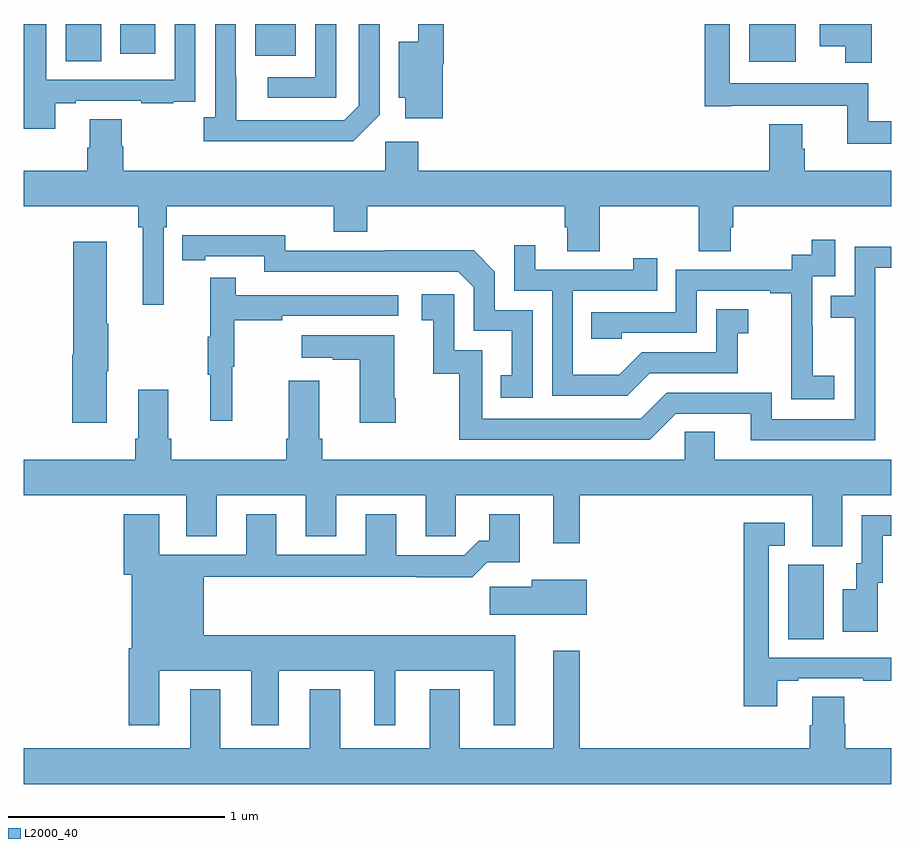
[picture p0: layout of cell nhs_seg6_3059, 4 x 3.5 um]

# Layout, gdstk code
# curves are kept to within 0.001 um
import gdstk
lib = gdstk.Library(unit=1e-6, precision=1e-09)
def R(c, l, rs):  # rectangles x0, y0, x1, y1
    for r in rs: c.add(gdstk.rectangle(r[:2], r[2:], *l))
def P(c, l, *ps):  # polygons
    for p in ps: c.add(gdstk.Polygon(p, *l))
L2000_40 = (2000, 40)

nhs_seg6_3059 = lib.new_cell('nhs_seg6_3059')
R(nhs_seg6_3059, L2000_40, [(294.524,954.664,294.688,955.008), (294.344,957.326,294.559,957.5), (291.194,957.328,291.358,957.5), (292.067,957.353,292.255,957.5), (291.446,957.363,291.607,957.5)])
P(nhs_seg6_3059, L2000_40, [(295,957.052),(294.894,957.052),(294.894,957.226),(294.255,957.226),(294.255,957.5),(294.139,957.5),(294.139,957.12),(294.262,957.12),(294.262,957.122),(294.797,957.122),(294.797,956.948),(295,956.948)],
  [(291.145,957.135),(291.241,957.135),(291.241,957.147),(291.541,957.147),(291.541,957.135),(291.689,957.135),(291.689,957.141),(291.791,957.141),(291.791,957.25),(291.792,957.25),(291.792,957.5),(291.696,957.5),(291.696,957.243),(291.105,957.243),(291.105,957.5),(291,957.5),(291,957.018),(291.145,957.018)],
  [(292.931,957.314),(292.937,957.314),(292.937,957.5),(292.82,957.5),(292.82,957.418),(292.73,957.418),(292.73,957.161),(292.76,957.161),(292.76,957.066),(292.931,957.066)],
  [(292.44,957.5),(292.344,957.5),(292.344,957.255),(292.125,957.255),(292.125,957.159),(292.44,957.159)],
  [(294.91,957.5),(294.671,957.5),(294.671,957.398),(294.788,957.398),(294.788,957.321),(294.91,957.321)],
  [(292.641,957.081),(292.641,957.5),(292.545,957.5),(292.545,957.123),(292.479,957.057),(291.979,957.057),(291.978,957.5),(291.882,957.5),(291.882,957.07),(291.831,957.07),(291.831,956.96),(292.52,956.96)],
  [(291.645,956.564),(291.659,956.564),(291.659,956.66),(292.43,956.66),(292.43,956.543),(292.583,956.543),(292.583,956.66),(293.495,956.66),(293.495,956.562),(293.507,956.562),(293.507,956.452),(293.655,956.452),(293.655,956.66),(294.112,956.66),(294.112,956.452),(294.259,956.452),(294.259,956.562),(294.272,956.562),(294.272,956.66),(295,956.66),(295,956.824),(294.602,956.824),(294.602,956.925),(294.589,956.925),(294.589,957.037),(294.437,957.037),(294.437,956.824),(292.82,956.824),(292.82,956.956),(292.668,956.956),(292.668,956.824),(291.458,956.824),(291.458,956.937),(291.453,956.937),(291.453,957.062),(291.305,957.062),(291.305,956.93),(291.293,956.93),(291.293,956.824),(291,956.824),(291,956.66),(291.529,956.66),(291.529,956.564),(291.548,956.564),(291.548,956.205),(291.645,956.205)],
  [(293.346,956.181),(293.172,956.181),(293.172,956.358),(293.074,956.456),(292.666,956.456),(292.666,956.454),(292.206,956.454),(292.206,956.527),(291.73,956.526),(291.73,956.41),(291.838,956.41),(291.838,956.43),(292.11,956.43),(292.11,956.358),(293.004,956.358),(293.076,956.286),(293.076,956.085),(293.249,956.085),(293.249,955.881),(293.2,955.881),(293.2,955.776),(293.346,955.776)],
  [(294.736,955.879),(294.638,955.879),(294.638,956.108),(294.636,956.108),(294.636,956.337),(294.741,956.337),(294.741,956.506),(294.633,956.506),(294.633,956.436),(294.54,956.436),(294.54,956.367),(294.006,956.367),(294.006,956.172),(293.617,956.172),(293.617,956.049),(293.757,956.049),(293.757,956.076),(294.102,956.076),(294.102,956.271),(294.443,956.271),(294.443,956.259),(294.539,956.259),(294.539,955.975),(294.538,955.975),(294.538,955.769),(294.736,955.769)],
  [(291.382,955.9),(291.39,955.9),(291.39,956.117),(291.382,956.117),(291.382,956.497),(291.229,956.497),(291.229,955.974),(291.224,955.974),(291.224,955.662),(291.382,955.662)],
  [(293.887,955.89),(294.291,955.89),(294.291,956.075),(294.34,956.075),(294.34,956.185),(294.192,956.185),(294.192,955.986),(293.85,955.986),(293.746,955.882),(293.532,955.882),(293.532,956.271),(293.921,956.271),(293.921,956.419),(293.81,956.419),(293.81,956.367),(293.359,956.367),(293.359,956.479),(293.262,956.479),(293.262,956.271),(293.436,956.271),(293.436,955.785),(293.782,955.785)],
  [(294.927,956.376),(295,956.376),(295,956.472),(294.831,956.472),(294.831,956.247),(294.721,956.247),(294.721,956.146),(294.831,956.146),(294.831,955.677),(294.45,955.677),(294.45,955.8),(293.964,955.8),(293.844,955.68),(293.115,955.68),(293.115,955.995),(292.986,955.995),(292.986,956.254),(292.836,956.254),(292.836,956.133),(292.889,956.133),(292.889,955.887),(293.007,955.887),(293.007,955.584),(293.886,955.584),(294.006,955.704),(294.353,955.704),(294.353,955.581),(294.927,955.581)],
  [(291.962,955.92),(291.97,955.92),(291.97,956.134),(292.193,956.134),(292.193,956.154),(292.726,956.154),(292.726,956.25),(291.977,956.25),(291.977,956.329),(291.86,956.329),(291.86,956.057),(291.849,956.057),(291.849,955.883),(291.86,955.883),(291.86,955.671),(291.962,955.671)],
  [(292.716,955.774),(292.708,955.774),(292.708,956.065),(292.281,956.065),(292.281,955.961),(292.424,955.961),(292.424,955.951),(292.55,955.951),(292.55,955.662),(292.716,955.662)],
  [(294.775,955.328),(295,955.328),(295,955.492),(294.187,955.492),(294.187,955.619),(294.048,955.619),(294.048,955.492),(292.376,955.492),(292.376,955.588),(292.363,955.588),(292.363,955.855),(292.223,955.855),(292.223,955.588),(292.211,955.588),(292.211,955.492),(291.68,955.492),(291.68,955.588),(291.667,955.588),(291.667,955.813),(291.527,955.813),(291.527,955.588),(291.515,955.588),(291.515,955.492),(291,955.492),(291,955.328),(291.749,955.328),(291.749,955.138),(291.889,955.138),(291.889,955.328),(292.301,955.328),(292.301,955.138),(292.441,955.138),(292.441,955.328),(292.853,955.328),(292.853,955.138),(292.992,955.138),(292.992,955.328),(293.441,955.328),(293.441,955.107),(293.563,955.107),(293.563,955.328),(294.635,955.328),(294.635,955.093),(294.775,955.093)],
  [(291.625,954.518),(292.049,954.518),(292.049,954.267),(292.177,954.267),(292.177,954.518),(292.616,954.518),(292.616,954.267),(292.714,954.267),(292.714,954.518),(293.168,954.518),(293.168,954.267),(293.266,954.267),(293.266,954.682),(291.829,954.682),(291.829,954.952),(292.813,954.952),(292.813,954.95),(293.069,954.95),(293.138,955.019),(293.287,955.019),(293.287,955.24),(293.147,955.24),(293.147,955.117),(293.098,955.117),(293.031,955.05),(292.717,955.05),(292.717,955.24),(292.577,955.24),(292.577,955.053),(292.165,955.053),(292.165,955.24),(292.025,955.24),(292.025,955.053),(291.625,955.053),(291.625,955.24),(291.461,955.24),(291.461,954.96),(291.497,954.96),(291.497,954.622),(291.485,954.622),(291.485,954.267),(291.625,954.267)],
  [(294.937,954.924),(294.961,954.924),(294.961,955.14),(295,955.14),(295,955.236),(294.864,955.236),(294.864,955.014),(294.839,955.014),(294.839,954.895),(294.776,954.895),(294.776,954.699),(294.937,954.699)],
  [(294.475,954.471),(294.571,954.471),(294.571,954.483),(294.871,954.483),(294.871,954.471),(295,954.471),(295,954.579),(294.435,954.579),(294.435,955.095),(294.508,955.095),(294.508,955.201),(294.319,955.201),(294.319,954.354),(294.475,954.354)],
  [(293.596,954.937),(293.342,954.937),(293.342,954.905),(293.148,954.905),(293.148,954.776),(293.596,954.776)],
  [(295,954.16),(294.788,954.16),(294.788,954.273),(294.783,954.273),(294.783,954.398),(294.635,954.398),(294.635,954.266),(294.623,954.266),(294.623,954.16),(293.563,954.16),(293.563,954.61),(293.441,954.61),(293.441,954.16),(293.011,954.16),(293.011,954.433),(292.871,954.433),(292.871,954.16),(292.459,954.16),(292.459,954.433),(292.319,954.433),(292.319,954.16),(291.907,954.16),(291.907,954.433),(291.767,954.433),(291.767,954.16),(291,954.16),(291,953.996),(295,953.996)])

lib.write_gds('nhs_seg6_3059.gds')
